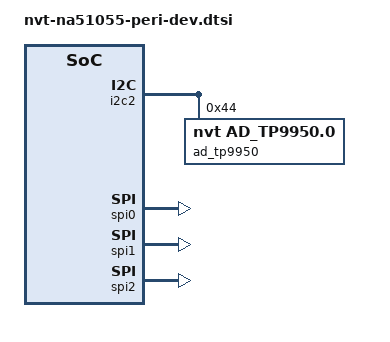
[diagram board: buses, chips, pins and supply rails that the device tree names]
/*
 * Novatek Ltd. NA51055 BSP part of dts
 *
 * Cortex-A9
 *
 */


#include <dt-bindings/gpio/nvt-gpio.h>

&i2c0 {
	#address-cells = <1>;
	#size-cells = <0>;

/*	dummy_i2c_dev: dummy_i2c@1a {
		compatible = "nvt,dummy_i2c_dev";
		reg = <0x1a>;
	};
*/
};

&i2c1 {
	#address-cells = <1>;
	#size-cells = <0>;
};

&i2c2 {
	#address-cells = <1>;
	#size-cells = <0>;

	ad_tp9950@0 {
		compatible = "nvt,ad_tp9950.0";
		reg = <0x44>;
		power_cfg {
			mclk_sel = "MCLK3";

			///////////////////////////////////////////////////////////////////////////////////////////////////
			// io control description                                                                        //
			// io_ctl0@0~19(max) = <io_pin      level   hold time>                                              //
			//   io_pin - (3 types)                                                                          //
			//     1. pin name (ex. S_GPIO(4), PGPIO(0), ...)                                                //
			//     2. 0xfffe: the following commands will only applied on 'power on' sequence (default)      //
			//     3. 0xfffd: the following commands will only applied on 'power off' sequence               //
			//   level - 1: pull high, 0: pull low                                                           //
			//   hold time - delay time (us)                                                                 //
			///////////////////////////////////////////////////////////////////////////////////////////////////
		//	rst_pin = "S_GPIO_4";
		//	pwdn_pin; 
		//	rst_time = <500000>;
	   //		stb_time = <500000>;
			//// power on ////
			io_ctl0 = <0xfffe		0 0>;			// power on sqeuence indicator
			// turn on power pin
			io_ctl1 = <C_GPIO(5)	1 10000>;			// io control description @0~19(max) = <io_pin, level(high(1) or low(0), hold time(us)>
			io_ctl2 = <S_GPIO(12)	1 100000>;			// io control description @0~19(max) = <io_pin, level(high(1) or low(0), hold time(us)>

			// reset flow
			io_ctl3 = <P_GPIO(11)	0 100000>;		// io control description @0~19(max) = <io_pin, level(high(1) or low(0), hold time(us)>
			io_ctl4 = <P_GPIO(11)   1 100000>;		// io control description @0~19(max) = <io_pin, level(high(1) or low(0), hold time(us)>

			//// power off ////
			io_ctl5 = <0xfffd		0 0>;			// power off sequence indicator
			io_ctl6 = <C_GPIO(5)	0 10>;			// turn off AHD5V_EN
			io_ctl7 = <P_GPIO(11)	0 10>;			// set tp9950 in reset state
			//io_ctl8 = <S_GPIO(12)	0 10>;
		};
		outport@0 {
		inport = <0>;
		signal = <0>;/*0:parallel 1:mipi*/
		};
	};
};

&spi0 {
	status = "okay";
	#address-cells = <1>;
	#size-cells = <0>;

/*	dummy_spi_dev: dummy_spi_dev@0 {
		compatible = "dummy_spi_dev.0";
		reg = <0>; // Chip select 0
		spi-max-frequency = <1000000>;
		spi-cpol;
        };
*/
};

&spi1 {
	status = "okay";
};

&spi2 {
	status = "okay";
};
